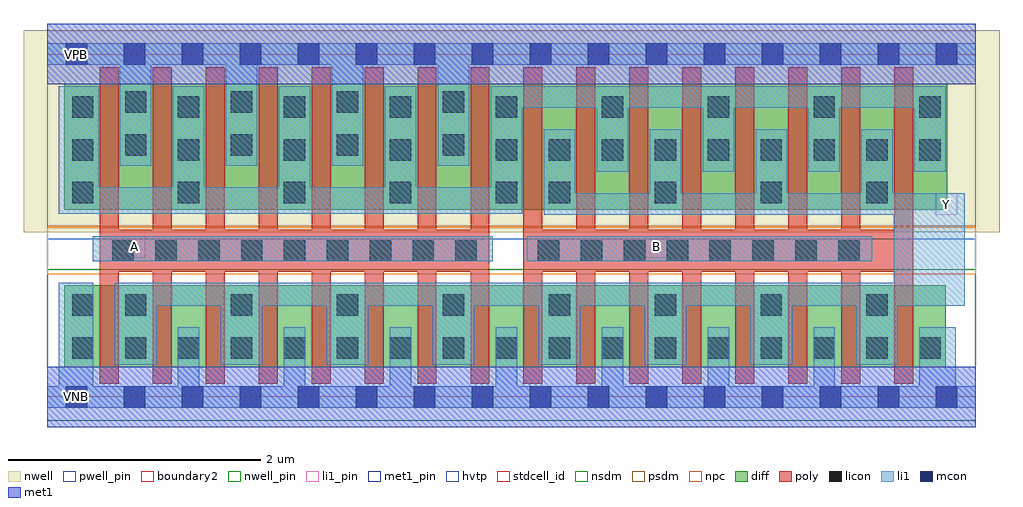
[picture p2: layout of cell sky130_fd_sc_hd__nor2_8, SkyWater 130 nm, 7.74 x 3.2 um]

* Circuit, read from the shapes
.subckt sky130_fd_sc_hd__nor2_8 A B VGND VNB VPB VPWR Y
XM1 Y A VGND VNB sky130_fd_pr__nfet_01v8 w=0.65 l=0.15 m=8
XM2 Y B VGND VNB sky130_fd_pr__nfet_01v8 w=0.65 l=0.15 m=8
XM3 VPWR A n1 VPB sky130_fd_pr__pfet_01v8_hvt w=1 l=0.15 m=8
XM4 Y B n1 VPB sky130_fd_pr__pfet_01v8_hvt w=1 l=0.15 m=8
.ends

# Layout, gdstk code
import gdstk
lib = gdstk.Library(unit=1e-6, precision=1e-09)
def R(c, l, rs):  # rectangles x0, y0, x1, y1
    for r in rs: c.add(gdstk.rectangle(r[:2], r[2:], *l))
def A(c, l, x, y, w, h, nx, ny, dx, dy):  # array of equal rectangles
    R(c, l, [(x+i*dx, y+j*dy, x+i*dx+w, y+j*dy+h) for i in range(nx) for j in range(ny)])
def P(c, l, *ps):  # polygons
    for p in ps: c.add(gdstk.Polygon(p, *l))
nwell_pin = (64, 16)
nwell = (64, 20)
diff = (65, 20)
poly = (66, 20)
licon = (66, 44)
li1_pin = (67, 16)
li1 = (67, 20)
mcon = (67, 44)
met1_pin = (68, 16)
met1 = (68, 20)
hvtp = (78, 44)
stdcell_id = (81, 4)
nsdm = (93, 44)
psdm = (94, 20)
npc = (95, 20)
pwell_pin = (122, 16)
boundary2 = (236, 0)

sky130_fd_sc_hd__nor2_8 = lib.new_cell('sky130_fd_sc_hd__nor2_8')
R(sky130_fd_sc_hd__nor2_8, nwell_pin, [(0.145,2.635,0.315,2.805)])
R(sky130_fd_sc_hd__nor2_8, nwell, [(-0.19,1.305,7.55,2.91)])
R(sky130_fd_sc_hd__nor2_8, diff, [(0.135,0.235,7.125,0.885), (0.135,1.485,7.135,2.485)])
P(sky130_fd_sc_hd__nor2_8, poly, [(3.505,2.615),(3.355,2.615),(3.355,1.325),(3.085,1.325),(3.085,2.615),(2.935,2.615),(2.935,1.325),(2.665,1.325),(2.665,2.615),(2.515,2.615),(2.515,1.325),(2.245,1.325),(2.245,2.615),(2.095,2.615),(2.095,1.325),(1.825,1.325),(1.825,2.615),(1.675,2.615),(1.675,1.325),(1.405,1.325),(1.405,2.615),(1.255,2.615),(1.255,1.325),(0.985,1.325),(0.985,2.615),(0.835,2.615),(0.835,1.325),(0.565,1.325),(0.565,2.615),(0.415,2.615),(0.415,0.105),(0.565,0.105),(0.565,0.995),(0.835,0.995),(0.835,0.105),(0.985,0.105),(0.985,0.995),(1.255,0.995),(1.255,0.105),(1.405,0.105),(1.405,0.995),(1.675,0.995),(1.675,0.105),(1.825,0.105),(1.825,0.995),(2.095,0.995),(2.095,0.105),(2.245,0.105),(2.245,0.995),(2.515,0.995),(2.515,0.105),(2.665,0.105),(2.665,0.995),(2.935,0.995),(2.935,0.105),(3.085,0.105),(3.085,0.995),(3.355,0.995),(3.355,0.105),(3.505,0.105)],
  [(6.865,2.615),(6.715,2.615),(6.715,1.325),(6.445,1.325),(6.445,2.615),(6.295,2.615),(6.295,1.325),(6.025,1.325),(6.025,2.615),(5.875,2.615),(5.875,1.325),(5.605,1.325),(5.605,2.615),(5.455,2.615),(5.455,1.325),(5.185,1.325),(5.185,2.615),(5.035,2.615),(5.035,1.325),(4.765,1.325),(4.765,2.615),(4.615,2.615),(4.615,1.325),(4.345,1.325),(4.345,2.615),(4.195,2.615),(4.195,1.325),(3.925,1.325),(3.925,2.615),(3.775,2.615),(3.775,0.105),(3.925,0.105),(3.925,0.995),(4.195,0.995),(4.195,0.105),(4.345,0.105),(4.345,0.995),(4.615,0.995),(4.615,0.105),(4.765,0.105),(4.765,0.995),(5.035,0.995),(5.035,0.105),(5.185,0.105),(5.185,0.995),(5.455,0.995),(5.455,0.105),(5.605,0.105),(5.605,0.995),(5.875,0.995),(5.875,0.105),(6.025,0.105),(6.025,0.995),(6.295,0.995),(6.295,0.105),(6.445,0.105),(6.445,0.995),(6.715,0.995),(6.715,0.105),(6.865,0.105)])
A(sky130_fd_sc_hd__nor2_8, licon, 0.195, 0.305, 0.17, 0.17, 17, 1, 0.42, 0)
A(sky130_fd_sc_hd__nor2_8, licon, 0.615, 0.645, 0.17, 0.17, 8, 1, 0.84, 0)
A(sky130_fd_sc_hd__nor2_8, licon, 0.515, 1.075, 0.17, 0.17, 9, 1, 0.34, 0)
A(sky130_fd_sc_hd__nor2_8, licon, 3.89, 1.075, 0.17, 0.17, 8, 1, 0.34, 0)
A(sky130_fd_sc_hd__nor2_8, licon, 0.195, 1.535, 0.17, 0.17, 5, 2, 0.84, 0.34)
A(sky130_fd_sc_hd__nor2_8, licon, 3.975, 1.535, 0.17, 0.17, 4, 1, 0.84, 0)
A(sky130_fd_sc_hd__nor2_8, licon, 3.975, 1.875, 0.17, 0.17, 8, 1, 0.42, 0)
A(sky130_fd_sc_hd__nor2_8, licon, 0.615, 1.915, 0.17, 0.17, 4, 2, 0.84, 0.34)
A(sky130_fd_sc_hd__nor2_8, licon, 0.195, 2.215, 0.17, 0.17, 9, 1, 0.84, 0)
R(sky130_fd_sc_hd__nor2_8, licon, [(0.195,0.645,0.365,0.815)])
R(sky130_fd_sc_hd__nor2_8, li1_pin, [(0.605,1.105,0.775,1.275), (4.745,1.105,4.915,1.275), (7.045,1.445,7.215,1.615)])
R(sky130_fd_sc_hd__nor2_8, li1, [(0.36,1.075,3.53,1.275), (3.8,1.075,6.54,1.275)])
P(sky130_fd_sc_hd__nor2_8, li1, [(7.36,0.085),(7.205,0.085),(7.205,0.555),(6.915,0.555),(6.915,0.085),(6.245,0.085),(6.245,0.555),(6.075,0.555),(6.075,0.085),(5.405,0.085),(5.405,0.555),(5.235,0.555),(5.235,0.085),(4.565,0.085),(4.565,0.555),(4.395,0.555),(4.395,0.085),(3.725,0.085),(3.725,0.555),(3.555,0.555),(3.555,0.085),(2.885,0.085),(2.885,0.555),(2.715,0.555),(2.715,0.085),(2.045,0.085),(2.045,0.555),(1.875,0.555),(1.875,0.085),(1.205,0.085),(1.205,0.555),(1.035,0.555),(1.035,0.085),(0.365,0.085),(0.365,0.905),(0.09,0.905),(0.09,0.085),(0,0.085),(0,-0.085),(7.36,-0.085)],
  [(7.36,2.805),(0,2.805),(0,2.635),(0.575,2.635),(0.575,1.835),(0.825,1.835),(0.825,2.635),(1.415,2.635),(1.415,1.835),(1.665,1.835),(1.665,2.635),(2.255,2.635),(2.255,1.835),(2.505,1.835),(2.505,2.635),(3.095,2.635),(3.095,1.835),(3.345,1.835),(3.345,2.635),(7.36,2.635)],
  [(7.125,2.465),(3.515,2.465),(3.515,1.665),(2.925,1.665),(2.925,2.465),(2.675,2.465),(2.675,1.665),(2.085,1.665),(2.085,2.465),(1.835,2.465),(1.835,1.665),(1.245,1.665),(1.245,2.465),(0.995,2.465),(0.995,1.665),(0.405,1.665),(0.405,2.465),(0.09,2.465),(0.09,1.455),(3.765,1.455),(3.765,2.295),(4.355,2.295),(4.355,1.785),(4.605,1.785),(4.605,2.295),(5.195,2.295),(5.195,1.785),(5.445,1.785),(5.445,2.295),(6.035,2.295),(6.035,1.785),(6.285,1.785),(6.285,2.295),(6.875,2.295),(6.875,1.785),(7.125,1.785)],
  [(7.275,1.615),(6.705,1.615),(6.705,2.125),(6.455,2.125),(6.455,1.615),(5.865,1.615),(5.865,2.125),(5.615,2.125),(5.615,1.615),(5.025,1.615),(5.025,2.125),(4.775,2.125),(4.775,1.615),(4.185,1.615),(4.185,2.125),(3.935,2.125),(3.935,1.445),(6.71,1.445),(6.71,0.905),(0.535,0.905),(0.535,0.255),(0.865,0.255),(0.865,0.725),(1.375,0.725),(1.375,0.255),(1.705,0.255),(1.705,0.725),(2.215,0.725),(2.215,0.255),(2.545,0.255),(2.545,0.725),(3.055,0.725),(3.055,0.255),(3.385,0.255),(3.385,0.725),(3.895,0.725),(3.895,0.255),(4.225,0.255),(4.225,0.725),(4.735,0.725),(4.735,0.255),(5.065,0.255),(5.065,0.725),(5.575,0.725),(5.575,0.255),(5.905,0.255),(5.905,0.725),(6.415,0.725),(6.415,0.255),(6.745,0.255),(6.745,0.725),(7.275,0.725)])
A(sky130_fd_sc_hd__nor2_8, mcon, 0.145, -0.085, 0.17, 0.17, 16, 2, 0.46, 2.72)
R(sky130_fd_sc_hd__nor2_8, met1_pin, [(0.145,-0.085,0.315,0.085), (0.145,2.635,0.315,2.805)])
R(sky130_fd_sc_hd__nor2_8, hvtp, [(0,1.25,7.36,2.72)])
R(sky130_fd_sc_hd__nor2_8, stdcell_id, [(0,0,7.36,2.72)])
R(sky130_fd_sc_hd__nor2_8, nsdm, [(0,-0.19,7.36,1.015)])
R(sky130_fd_sc_hd__nor2_8, psdm, [(0,1.355,7.36,2.91)])
R(sky130_fd_sc_hd__nor2_8, npc, [(0,0.975,7.36,1.345)])
R(sky130_fd_sc_hd__nor2_8, pwell_pin, [(0.145,-0.085,0.315,0.085)])
R(sky130_fd_sc_hd__nor2_8, boundary2, [(0,0,7.36,2.72)])
sky130_fd_sc_hd__nor2_8.add(gdstk.FlexPath([(0,2.72),(7.36,2.72)], 0.48, ends="flush", simple_path=True, layer=68, datatype=20))  # met1
sky130_fd_sc_hd__nor2_8.add(gdstk.FlexPath([(0,0),(7.36,0)], 0.48, ends="flush", simple_path=True, layer=68, datatype=20))  # met1
sky130_fd_sc_hd__nor2_8.add(gdstk.Label('Y', (7.13,1.53), layer=67, texttype=5))
sky130_fd_sc_hd__nor2_8.add(gdstk.Label('A', (0.69,1.19), layer=67, texttype=5))
sky130_fd_sc_hd__nor2_8.add(gdstk.Label('B', (4.83,1.19), layer=67, texttype=5))
sky130_fd_sc_hd__nor2_8.add(gdstk.Label('VPB', (0.23,2.72), layer=64, texttype=5))
sky130_fd_sc_hd__nor2_8.add(gdstk.Label('VNB', (0.23,0), layer=64, texttype=59))
sky130_fd_sc_hd__nor2_8.add(gdstk.Label('VGND', (0.23,0), layer=68, texttype=5))
sky130_fd_sc_hd__nor2_8.add(gdstk.Label('VPWR', (0.23,2.72), layer=68, texttype=5))
sky130_fd_sc_hd__nor2_8.add(gdstk.Label('nor2_8', (0,0), layer=83, texttype=44))

lib.write_gds('sky130_fd_sc_hd__nor2_8.gds')
